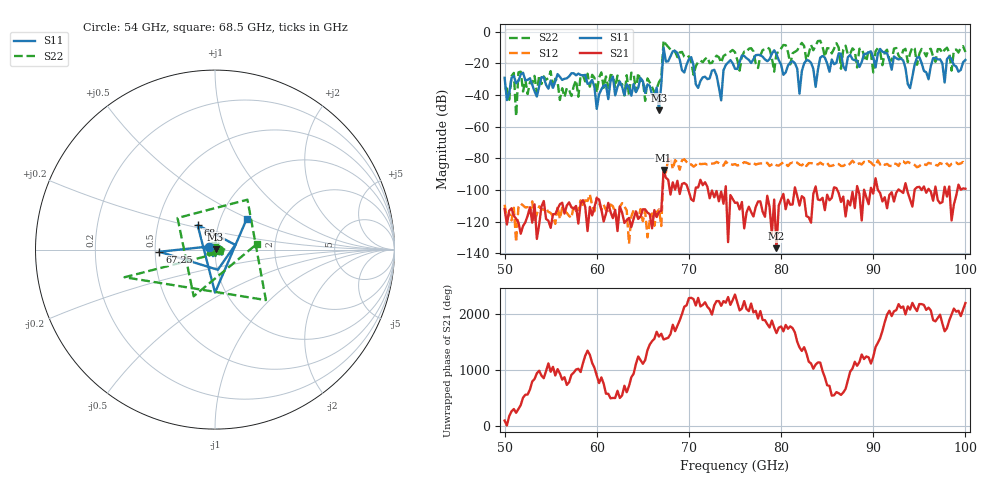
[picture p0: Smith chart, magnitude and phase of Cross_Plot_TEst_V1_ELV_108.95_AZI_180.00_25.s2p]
! 11/25/2026 1:27:18 PM
! C:\ANRITSUVNA\TEMP\TEMP.S2P
! CHANNEL.1
! TR.MEASUREMENT
! RAW.DATA
# HZ S RI R 50.0
! FREQ.HZ  S11RE  S11IM  S21RE  S21IM  S12RE  S12IM  S22RE  S22IM
!; PortSelection: Port_12
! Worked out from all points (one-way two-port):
!   201 points, 50 GHz to 100 GHz, reference 50 ohm
!   highest |S21| = -87.47 dB at 67.25 GHz (marker M1); lowest = -137.0 dB at 79.5 GHz (marker M2)
!   lowest |S11| = -49.7 dB at 66.75 GHz (marker M3), VSWR 1.01, Z = 50.3 + j0.0727 ohm
!   |S11| at or under -10 dB: start of sweep to end of sweep
!   |S22| runs from -53.4 to -5.6 dB; largest |S21 - S12| = 0.00011
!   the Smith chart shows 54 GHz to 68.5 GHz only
!   S11 on the Smith chart (normalised r, x): 54 GHz: 0.93, +0.03; 67.25 GHz: 0.53, -0.01; 68 GHz: 0.80, +0.22; 68.5 GHz: 1.33, +0.49
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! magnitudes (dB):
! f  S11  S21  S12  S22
! 50 GHz  -29.1  -112.0  -109.4  -35.7
! 51 GHz  -27.9  -116.3  -111.3  -26.1
! 51.25 GHz  -32.6  -118.3  -133.0  -53.4
! 51.5 GHz  -31.2  -120.5  -110.9  -25.7
! 54 GHz  -28.7  -110.5  -112.1  -33.1
! 58.5 GHz  -27.7  -106.5  -110.1  -27.7
! 60 GHz  -48.8  -105.4  -104.8  -38.5
! 61.75 GHz  -28.4  -117.9  -110.3  -27.7
! 66.75 GHz  -49.7  -114.0  -112.3  -31.9
! 67.25 GHz  -10.2  -87.5  -89.0  -5.6
! 68 GHz  -15.5  -103.0  -79.4  -11.3
! 68.5 GHz  -12.1  -99.9  -81.2  -12.6
! 73.5 GHz  -43.4  -101.1  -84.1  -19.7
! 73.75 GHz  -24.4  -108.8  -84.7  -15.4
! 75 GHz  -23.5  -108.2  -83.7  -13.0
! 79.5 GHz  -14.2  -137.0  -84.4  -13.6
! 82 GHz  -39.2  -109.9  -84.0  -9.2
! 83.5 GHz  -23.5  -102.5  -83.2  -11.8
! 91.75 GHz  -18.1  -103.2  -84.8  -17.6
! 94 GHz  -35.7  -106.1  -83.0  -13.7
! 94.75 GHz  -16.5  -98.3  -85.7  -21.0
! 100 GHz  -17.9  -99.3  -84.4  -12.8
